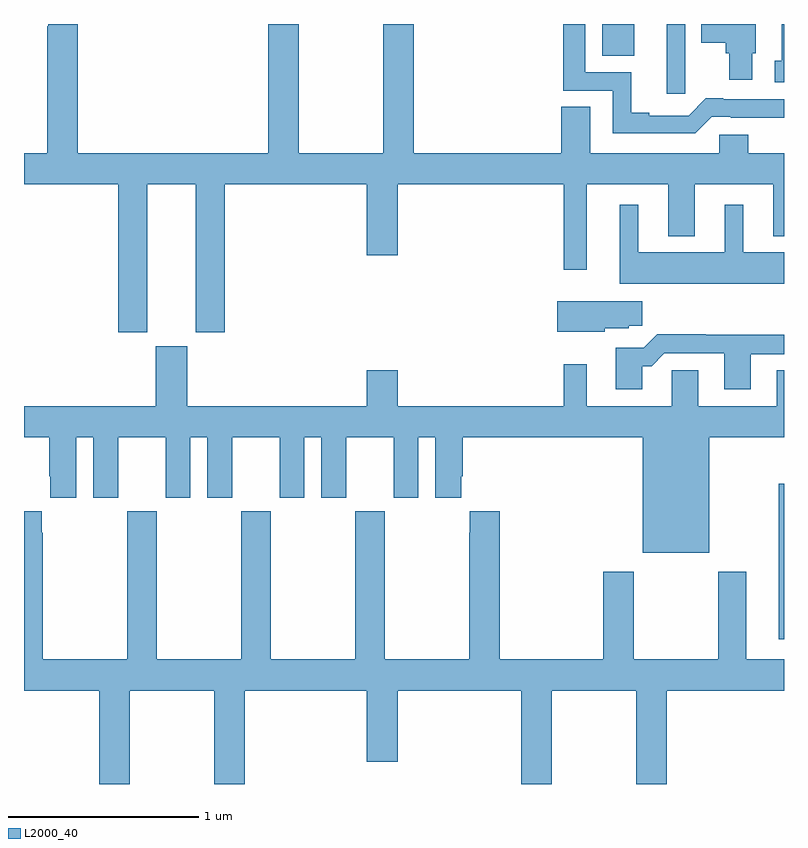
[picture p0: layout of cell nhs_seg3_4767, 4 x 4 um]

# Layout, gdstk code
import gdstk
lib = gdstk.Library(unit=1e-6, precision=1e-09)
def R(c, l, rs):  # rectangles x0, y0, x1, y1
    for r in rs: c.add(gdstk.rectangle(r[:2], r[2:], *l))
def P(c, l, *ps):  # polygons
    for p in ps: c.add(gdstk.Polygon(p, *l))
L2000_40 = (2000, 40)

nhs_seg3_4767 = lib.new_cell('nhs_seg3_4767')
R(nhs_seg3_4767, L2000_40, [(370.973,725.163,371,725.98), (370.043,728.234,370.213,728.4)])
P(nhs_seg3_4767, L2000_40, [(367.127,728.4),(367.127,728.387),(367.123,728.387),(367.123,727.72),(367,727.72),(367,727.556),(367.496,727.556),(367.496,726.777),(367.648,726.777),(367.648,727.556),(367.904,727.556),(367.904,726.777),(368.057,726.777),(368.057,727.556),(368.804,727.556),(368.804,727.182),(368.968,727.182),(368.968,727.556),(369.84,727.556),(369.84,727.107),(369.961,727.107),(369.961,727.556),(370.391,727.556),(370.391,727.283),(370.531,727.283),(370.531,727.556),(370.943,727.556),(370.943,727.283),(371,727.283),(371,727.72),(370.811,727.72),(370.811,727.818),(370.659,727.818),(370.659,727.72),(369.979,727.72),(369.979,727.964),(369.827,727.964),(369.827,727.72),(369.05,727.72),(369.05,728.4),(368.89,728.4),(368.89,727.72),(368.445,727.72),(368.445,728.4),(368.285,728.4),(368.285,727.72),(367.283,727.72),(367.283,728.4)],
  [(370.834,728.247),(370.852,728.247),(370.852,728.4),(370.564,728.4),(370.564,728.301),(370.694,728.301),(370.694,728.247),(370.712,728.247),(370.712,728.106),(370.834,728.106)],
  [(371,728.4),(370.988,728.4),(370.988,728.207),(370.952,728.207),(370.952,728.094),(371,728.094)],
  [(370.481,728.274),(370.479,728.274),(370.479,728.4),(370.382,728.4),(370.382,728.034),(370.481,728.034)],
  [(370.62,727.911),(370.72,727.911),(370.72,727.907),(371,727.907),(371,728.004),(370.681,728.004),(370.681,728.009),(370.589,728.009),(370.498,727.918),(370.291,727.918),(370.291,727.933),(370.196,727.933),(370.196,728.145),(369.954,728.145),(369.954,728.4),(369.838,728.4),(369.838,728.049),(370.098,728.049),(370.098,727.824),(370.533,727.824)],
  [(371,727.198),(370.786,727.198),(370.786,727.45),(370.688,727.45),(370.688,727.198),(370.234,727.198),(370.234,727.45),(370.136,727.45),(370.136,727.034),(371,727.034)],
  [(370.056,726.8),(370.182,726.8),(370.182,726.811),(370.255,726.811),(370.255,726.94),(369.806,726.94),(369.806,726.779),(370.056,726.779)],
  [(370.255,726.599),(370.304,726.599),(370.371,726.666),(370.685,726.666),(370.685,726.477),(370.825,726.477),(370.825,726.663),(371,726.663),(371,726.764),(370.589,726.764),(370.589,726.767),(370.334,726.767),(370.263,726.696),(370.115,726.696),(370.115,726.477),(370.255,726.477)],
  [(367.858,726.705),(367.694,726.705),(367.694,726.388),(367,726.388),(367,726.224),(367.133,726.224),(367.133,726.019),(367.139,726.019),(367.139,725.907),(367.276,725.907),(367.276,726.224),(367.364,726.224),(367.364,725.907),(367.495,725.907),(367.495,726.224),(367.745,726.224),(367.745,725.907),(367.876,725.907),(367.876,726.224),(367.964,726.224),(367.964,725.907),(368.095,725.907),(368.095,726.224),(368.345,726.224),(368.345,725.907),(368.476,725.907),(368.476,726.224),(368.564,726.224),(368.564,725.907),(368.695,725.907),(368.695,726.224),(368.945,726.224),(368.945,725.907),(369.076,725.907),(369.076,726.224),(369.164,726.224),(369.164,725.907),(369.301,725.907),(369.301,726.019),(369.308,726.019),(369.308,726.224),(370.256,726.224),(370.256,725.618),(370.606,725.618),(370.606,726.224),(371,726.224),(371,726.578),(370.961,726.578),(370.961,726.388),(370.549,726.388),(370.549,726.578),(370.41,726.578),(370.41,726.388),(369.961,726.388),(369.961,726.61),(369.84,726.61),(369.84,726.388),(368.968,726.388),(368.968,726.577),(368.804,726.577),(368.804,726.388),(367.858,726.388)],
  [(369.617,724.4),(369.777,724.4),(369.777,724.892),(370.222,724.892),(370.222,724.4),(370.382,724.4),(370.382,724.892),(371,724.892),(371,725.056),(370.801,725.056),(370.801,725.518),(370.654,725.518),(370.654,725.056),(370.209,725.056),(370.209,725.518),(370.049,725.518),(370.049,725.056),(369.503,725.056),(369.503,725.836),(369.347,725.836),(369.347,725.723),(369.343,725.723),(369.343,725.056),(368.898,725.056),(368.898,725.836),(368.743,725.836),(368.743,725.056),(368.298,725.056),(368.298,725.836),(368.143,725.836),(368.143,725.056),(367.698,725.056),(367.698,725.836),(367.543,725.836),(367.543,725.056),(367.098,725.056),(367.098,725.723),(367.093,725.723),(367.093,725.836),(367,725.836),(367,724.892),(367.397,724.892),(367.397,724.4),(367.557,724.4),(367.557,724.892),(368.002,724.892),(368.002,724.4),(368.162,724.4),(368.162,724.892),(368.804,724.892),(368.804,724.518),(368.968,724.518),(368.968,724.892),(369.617,724.892)])

lib.write_gds('nhs_seg3_4767.gds')
